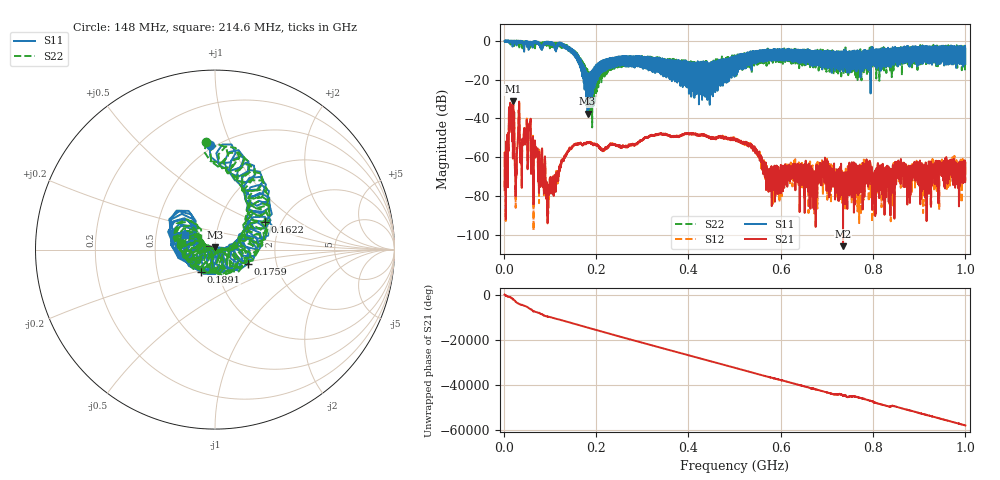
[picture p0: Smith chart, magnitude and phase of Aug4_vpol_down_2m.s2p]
!Keysight Technologies N9923A: A.12.45
!Date: Tuesday, 05 August 2025 20:19:07
!Timezone: (UTC+08:00) Kuala Lumpur, Singapore
!Model: N9923A
!Serial: MY61181427
!GPS Latitude:
!GPS Longitude:
!GPS TimeStamp: 0001-01-01 00:00:00Z
!GPS Seconds Since Last Read: 0
!CHECKSUM:1555700969
!Correction: S11(ON U)S21(ON U)S12(ON U)S22(ON U)
!S2P File: Measurements:S11,S21,S12,S22:
# Hz S DB R 50
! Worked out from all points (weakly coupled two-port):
!   4001 points, 2 MHz to 1 GHz, reference 50 ohm
!   highest |S21| = -31.22 dB at 20.46 MHz (marker M1); lowest = -105.7 dB at 735 MHz (marker M2)
!   lowest |S11| = -37.5 dB at 181.6 MHz (marker M3), VSWR 1.03, Z = 49.9 + j1.32 ohm
!   |S11| at or under -10 dB: 166.2 MHz to 215.5 MHz (49.3 MHz wide, 25.8 % of centre); 358.5 MHz to 378.5 MHz (19.95 MHz wide, 5.41 % of centre); 378.5 MHz to 467.3 MHz (88.78 MHz wide, 21 % of centre)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
!   |S22| runs from -44.6 to 0.1 dB; largest |S21 - S12| = 0.0021
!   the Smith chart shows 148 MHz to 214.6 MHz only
!   S11 on the Smith chart (normalised r, x): 148 MHz: 0.47, +0.83; 162.2 MHz: 1.64, +0.57; 175.9 MHz: 1.42, -0.24; 189.1 MHz: 0.83, -0.21; 214.6 MHz: 0.71, +0.12
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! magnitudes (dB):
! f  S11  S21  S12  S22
! 2 MHz  -0.1  -76.9  -75.4  -0.1
! 12.73 MHz  -0.7  -46.6  -46.7  -0.7
! 20.46 MHz  -1.1  -31.2  -31.2  -1.0
! 27.2 MHz  -0.9  -69.2  -66.6  -0.2
! 33.44 MHz  -0.9  -31.3  -31.1  -3.0
! 58.64 MHz  -1.7  -44.4  -44.2  -1.8
! 95.81 MHz  -0.5  -79.5  -89.9  -0.8
! 148 MHz  -4.7  -54.7  -54.3  -4.4
! 162.2 MHz  -10.0  -53.0  -53.2  -10.1
! 168.4 MHz  -15.8  -53.0  -53.2  -13.6
! 175.9 MHz  -14.1  -52.9  -52.7  -13.2
! 181.6 MHz  -37.5  -52.7  -52.6  -21.0
! 189.1 MHz  -16.7  -52.8  -52.7  -17.2
! 214.6 MHz  -14.7  -56.3  -56.1  -14.5
! 334.8 MHz  -9.1  -48.4  -48.2  -10.2
! 501 MHz  -8.1  -51.3  -50.6  -8.7
! 581.1 MHz  -6.4  -66.5  -66.3  -10.4
! 667.4 MHz  -5.3  -65.7  -69.9  -7.4
! 692.4 MHz  -6.4  -67.8  -68.1  -13.4
! 735 MHz  -6.8  -105.7  -69.7  -7.2
! 833.8 MHz  -5.9  -82.9  -71.4  -13.1
! 1 GHz  -11.9  -62.9  -71.8  -3.9
